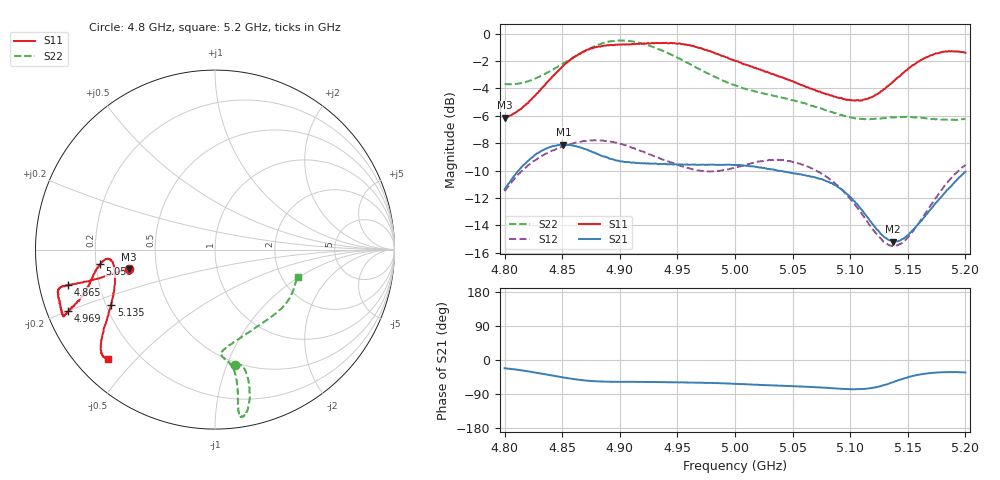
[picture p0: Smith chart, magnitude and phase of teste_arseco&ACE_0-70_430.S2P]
! Network Analyzer HP8722D
! Hewlett-Packard
! Data name: Linha & Wilkinson
! Saver's name: Rodrigo Anjos
! Comments: Teste da utilização de aquisição
! continua pelo VNA HP8722D
! Time and date: 8/5/2025 16:20
!  Frequency  S11  S21  S12  S22
# HZ  S  MA R 50
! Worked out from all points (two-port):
!   401 points, 4.8 GHz to 5.2 GHz, reference 50 ohm
!   highest |S21| = -8.10 dB at 4.851 GHz (marker M1); lowest = -15.2 dB at 5.137 GHz (marker M2)
!   |S21| within 3 dB of the highest: 4.802 GHz to 5.088 GHz (285.5 MHz wide, 5.77 % of centre); 5.188011 GHz to end of sweep
!   lowest |S11| = -6.2 dB at 4.8 GHz (marker M3), VSWR 2.94, Z = 17.2 - j5.03 ohm
!   |S11| at or under -10 dB: nowhere
!   |S22| runs from -6.3 to -0.5 dB; largest |S21 - S12| = 0.62
!   S11 on the Smith chart (normalised r, x): 4.8 GHz: 0.34, -0.10; 4.865 GHz: 0.09, -0.12; 4.969 GHz: 0.06, -0.20; 5.059 GHz: 0.22, -0.06; 5.135 GHz: 0.22, -0.24; 5.2 GHz: 0.09, -0.42
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4.8e9  0.4926 -167.0  0.2703 -21.7  0.2658 -143.0  0.6546 -80.1
4.826e9  0.5913 -166.6  0.3599 -32.9  0.3435 -147.6  0.6842 -76.1
4.851e9  0.7623 -166.1  0.3937 -46.2  0.3876 -151.7  0.7791 -75.9
4.865e9  0.8419 -166.5  0.3848 -52.3  0.4023 -153.8  0.8435 -76.7
4.867e9  0.8532 -166.5  0.3828 -53.1  0.4035 -154.1  0.8522 -76.9
4.898e9  0.9098 -163.6  0.3439 -57.6  0.3981 -157.8  0.943 -80.3
4.913e9  0.9146 -160.5  0.338 -57.7  0.3811 -158.2  0.9321 -81.5
4.934e9  0.9235 -157.2  0.3339 -58.4  0.3519 -156.5  0.8755 -81.6
4.969e9  0.886 -157.1  0.3317 -59.9  0.3163 -148.2  0.742 -80.6
5e9  0.7959 -160.2  0.3315 -62.9  0.3245 -138.4  0.6469 -82.2
5.035e9  0.7049 -166.5  0.3176 -67.3  0.3465 -136.0  0.5913 -86.4
5.059e9  0.6458 -172.7  0.3047 -70.1  0.3323 -138.1  0.5576 -84.8
5.067e9  0.6276 -174.1  0.3008 -71.0  0.3218 -138.8  0.5448 -82.7
5.084e9  0.5948 -175.0  0.2852 -74.4  0.2904 -140.4  0.5172 -75.8
5.1e9  0.5725 -171.5  0.2532 -77.0  0.2493 -140.1  0.4955 -65.9
5.116e9  0.5806 -163.8  0.2111 -75.3  0.2027 -135.0  0.4872 -54.6
5.134e9  0.6498 -152.7  0.1761 -61.9  0.1687 -117.3  0.4937 -42.6
5.135e9  0.654 -152.1  0.1761 -60.8  0.1687 -115.9  0.4947 -42.0
5.137e9  0.6658 -151.0  0.174 -58.7  0.1681 -113.4  0.4942 -40.9
5.15e9  0.7415 -145.6  0.1838 -45.7  0.1801 -97.2  0.4951 -34.1
5.172e9  0.838 -139.4  0.2341 -33.8  0.2433 -81.5  0.4887 -24.6
5.2e9  0.8514 -134.2  0.3131 -32.9  0.3319 -78.6  0.4877 -18.1
